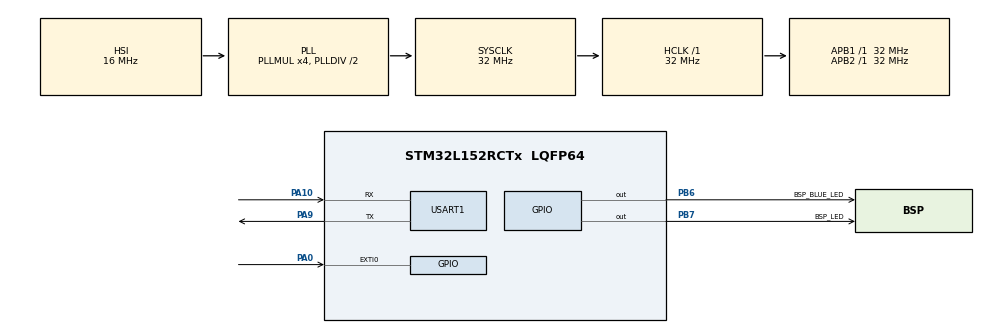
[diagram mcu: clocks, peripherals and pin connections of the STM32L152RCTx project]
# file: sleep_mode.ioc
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Mcu.Family=STM32L1
Mcu.Name=STM32L152RCTx
Mcu.Package=LQFP64
NVIC.EXTI0_IRQn=true\:0\:0\:false\:false\:true\:true\:true\:true
NVIC.PriorityGroup=NVIC_PRIORITYGROUP_0
NVIC.USART1_IRQn=true\:0\:0\:false\:true\:true\:1\:true\:true\:true
PA0-WKUP1.Signal=GPXTI0
PA10.Mode=Asynchronous
PA10.Signal=USART1_RX
PA13.Mode=Serial_Wire
PA13.Signal=SYS_JTMS-SWDIO
PA14.Mode=Serial_Wire
PA14.Signal=SYS_JTCK-SWCLK
PA9.Mode=Asynchronous
PA9.Signal=USART1_TX
PB6.GPIO_Label=BSP_BLUE_LED
PB6.Signal=GPIO_Output
PB7.GPIO_Label=BSP_LED
PB7.Signal=GPIO_Output
PH0-OSC_IN.Mode=HSE-External-Oscillator
PH0-OSC_IN.Signal=RCC_OSC_IN
PH1-OSC_OUT.Mode=HSE-External-Oscillator
PH1-OSC_OUT.Signal=RCC_OSC_OUT
ProjectManager.HeapSize=0x200
ProjectManager.StackSize=0x400
ProjectManager.TargetToolchain=STM32CubeIDE
RCC.48MHZClocksFreq_Value=32000000
RCC.AHBFreq_Value=32000000
RCC.APB1Freq_Value=32000000
RCC.APB1TimFreq_Value=32000000
RCC.APB2Freq_Value=32000000
RCC.APB2TimFreq_Value=32000000
RCC.HCLKFreq_Value=32000000
RCC.HSE_VALUE=8000000
RCC.HSI_VALUE=16000000
RCC.LSE_VALUE=32768
RCC.MSI_VALUE=2097000
RCC.PLLMUL=RCC_PLL_MUL4
RCC.RTCClockSelectionVirtual=RCC_RTCCLKSOURCE_LSE
RCC.SYSCLKFreq_VALUE=32000000
RCC.SYSCLKSource=RCC_SYSCLKSOURCE_PLLCLK
RCC.USBOutput=48000000
RCC.VCOOutputFreq_Value=64000000
USART1.VirtualMode=VM_ASYNC
board=STM32L152C-DISCO

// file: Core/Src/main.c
/* USER CODE BEGIN Header */
/**
  ******************************************************************************
  * @file           : main.c
  * @brief          : Main program body
  ******************************************************************************
  * @attention
  *
  * Copyright (c) 2023 STMicroelectronics.
  * All rights reserved.
  *
  * This software is licensed under terms that can be found in the LICENSE file
  * in the root directory of this software component.
  * If no LICENSE file comes with this software, it is provided AS-IS.
  *
  ******************************************************************************
  */
/* USER CODE END Header */
#include "main.h"

/* USER CODE BEGIN Includes */
#include"string.h"
#include"stdio.h"
/* USER CODE END Includes */

UART_HandleTypeDef huart1;

void SystemClock_Config(void);
static void MX_GPIO_Init(void);
static void MX_USART1_UART_Init(void);
static void MX_NVIC_Init(void);

/* USER CODE BEGIN 0 */
char *str ={0};// creat a variable to store the string
uint8_t Rx_data;// store the data recived from uart

void HAL_UART_RxCpltCallback(UART_HandleTypeDef *huart)
{
    HAL_UART_Receive_IT(huart, &Rx_data, 1);
    str = "WakeUP from SLEEP by UART\r\n";
    HAL_UART_Transmit(&huart1, (uint8_t *)str, strlen (str), HAL_MAX_DELAY);
    HAL_ResumeTick();
    HAL_PWR_DisableSleepOnExit ();

}

void HAL_GPIO_EXTI_Callback(uint16_t GPIO_Pin)
{
 str = "WakeUP from SLEEP by EXTI\r\n";
    HAL_UART_Transmit(&huart1, (uint8_t *)str, strlen (str), HAL_MAX_DELAY);
    HAL_ResumeTick();
    HAL_PWR_DisableSleepOnExit ();

}

/* USER CODE END 0 */

int main(void)
{

  /* MCU Configuration--------------------------------------------------------*/

  /* Reset of all peripherals, Initializes the Flash interface and the Systick. */
  HAL_Init();

  /* Configure the system clock */
  SystemClock_Config();

  /* Initialize all configured peripherals */
  MX_GPIO_Init();
  MX_USART1_UART_Init();

  /* Initialize interrupts */
  MX_NVIC_Init();
  /* USER CODE BEGIN 2 */
  HAL_UART_Receive_IT(&huart1, &Rx_data, 1);//call
  /* USER CODE END 2 */

  /* Infinite loop */
  while (1)
  {

		/* USER CODE BEGIN 3 */
		str = "Going into SLEEP MODE in 5 seconds\r\n"; // sting trasmited before mc go sleep mode
		HAL_UART_Transmit(&huart1, (uint8_t*) str, strlen(str), HAL_MAX_DELAY);

		HAL_GPIO_WritePin(BSP_BLUE_LED_GPIO_Port, BSP_BLUE_LED_Pin, 1);
		HAL_Delay(5000); // led on 5 secound

		/*    Suspend Tick increment to prevent wakeup by Systick interrupt.
		 Otherwise the Systick interrupt will wake up the device within 1ms (HAL time base)
		 */
		HAL_SuspendTick();

		HAL_GPIO_WritePin(BSP_BLUE_LED_GPIO_Port, BSP_BLUE_LED_Pin, 0); //Just to indicate that the sleep mode is activated

		HAL_PWR_EnableSleepOnExit();
		//Enter Sleep Mode , wake up is done once User push-button is pressed
		HAL_PWR_EnterSLEEPMode(PWR_MAINREGULATOR_ON, PWR_SLEEPENTRY_WFI);

        //Resume Tick interrupt if disabled prior to sleep mode entry
		HAL_ResumeTick();

		str = "WakeUP from SLEEP\r\n";
		HAL_UART_Transmit(&huart1, (uint8_t*) str, strlen(str), HAL_MAX_DELAY);
		// 	HAL_ResumeTick();
		for (int i = 0; i < 20; i++) {
			HAL_GPIO_TogglePin(BSP_BLUE_LED_GPIO_Port, BSP_BLUE_LED_Pin);
			HAL_Delay(500);
		}

	}
  /* USER CODE END 3 */
}

void SystemClock_Config(void)
{
  RCC_OscInitTypeDef RCC_OscInitStruct = {0};
  RCC_ClkInitTypeDef RCC_ClkInitStruct = {0};

  /** Configure the main internal regulator output voltage
  */
  __HAL_PWR_VOLTAGESCALING_CONFIG(PWR_REGULATOR_VOLTAGE_SCALE1);

  /** Initializes the RCC Oscillators according to the specified parameters
  * in the RCC_OscInitTypeDef structure.
  */
  RCC_OscInitStruct.OscillatorType = RCC_OSCILLATORTYPE_HSI;
  RCC_OscInitStruct.HSIState = RCC_HSI_ON;
  RCC_OscInitStruct.HSICalibrationValue = RCC_HSICALIBRATION_DEFAULT;
  RCC_OscInitStruct.PLL.PLLState = RCC_PLL_ON;
  RCC_OscInitStruct.PLL.PLLSource = RCC_PLLSOURCE_HSI;
  RCC_OscInitStruct.PLL.PLLMUL = RCC_PLL_MUL4;
  RCC_OscInitStruct.PLL.PLLDIV = RCC_PLL_DIV2;
  if (HAL_RCC_OscConfig(&RCC_OscInitStruct) != HAL_OK)
  {
    Error_Handler();
  }

  /** Initializes the CPU, AHB and APB buses clocks
  */
  RCC_ClkInitStruct.ClockType = RCC_CLOCKTYPE_HCLK|RCC_CLOCKTYPE_SYSCLK
                              |RCC_CLOCKTYPE_PCLK1|RCC_CLOCKTYPE_PCLK2;
  RCC_ClkInitStruct.SYSCLKSource = RCC_SYSCLKSOURCE_PLLCLK;
  RCC_ClkInitStruct.AHBCLKDivider = RCC_SYSCLK_DIV1;
  RCC_ClkInitStruct.APB1CLKDivider = RCC_HCLK_DIV1;
  RCC_ClkInitStruct.APB2CLKDivider = RCC_HCLK_DIV1;

  if (HAL_RCC_ClockConfig(&RCC_ClkInitStruct, FLASH_LATENCY_1) != HAL_OK)
  {
    Error_Handler();
  }
}

/**
  * @brief NVIC Configuration.
  * @retval None
  */
static void MX_NVIC_Init(void)
{
  /* USART1_IRQn interrupt configuration */
  HAL_NVIC_SetPriority(USART1_IRQn, 0, 0);
  HAL_NVIC_EnableIRQ(USART1_IRQn);
}

static void MX_USART1_UART_Init(void)
{

  huart1.Instance = USART1;
  huart1.Init.BaudRate = 115200;
  huart1.Init.WordLength = UART_WORDLENGTH_8B;
  huart1.Init.StopBits = UART_STOPBITS_1;
  huart1.Init.Parity = UART_PARITY_NONE;
  huart1.Init.Mode = UART_MODE_TX_RX;
  huart1.Init.HwFlowCtl = UART_HWCONTROL_NONE;
  huart1.Init.OverSampling = UART_OVERSAMPLING_16;
  if (HAL_UART_Init(&huart1) != HAL_OK)
  {
    Error_Handler();
  }

}

static void MX_GPIO_Init(void)
{
  GPIO_InitTypeDef GPIO_InitStruct = {0};

  /* GPIO Ports Clock Enable */
  __HAL_RCC_GPIOH_CLK_ENABLE();
  __HAL_RCC_GPIOA_CLK_ENABLE();
  __HAL_RCC_GPIOB_CLK_ENABLE();

  /*Configure GPIO pin Output Level */
  HAL_GPIO_WritePin(GPIOB, BSP_BLUE_LED_Pin|BSP_LED_Pin, GPIO_PIN_RESET);

  /*Configure GPIO pin : PA0 */
  GPIO_InitStruct.Pin = GPIO_PIN_0;
  GPIO_InitStruct.Mode = GPIO_MODE_IT_RISING;
  GPIO_InitStruct.Pull = GPIO_NOPULL;
  HAL_GPIO_Init(GPIOA, &GPIO_InitStruct);

  /*Configure GPIO pins : BSP_BLUE_LED_Pin BSP_LED_Pin */
  GPIO_InitStruct.Pin = BSP_BLUE_LED_Pin|BSP_LED_Pin;
  GPIO_InitStruct.Mode = GPIO_MODE_OUTPUT_PP;
  GPIO_InitStruct.Pull = GPIO_NOPULL;
  GPIO_InitStruct.Speed = GPIO_SPEED_FREQ_LOW;
  HAL_GPIO_Init(GPIOB, &GPIO_InitStruct);

  /* EXTI interrupt init*/
  HAL_NVIC_SetPriority(EXTI0_IRQn, 0, 0);
  HAL_NVIC_EnableIRQ(EXTI0_IRQn);

}

void Error_Handler(void)
{
  __disable_irq();
  while (1)
  {
  }
}
